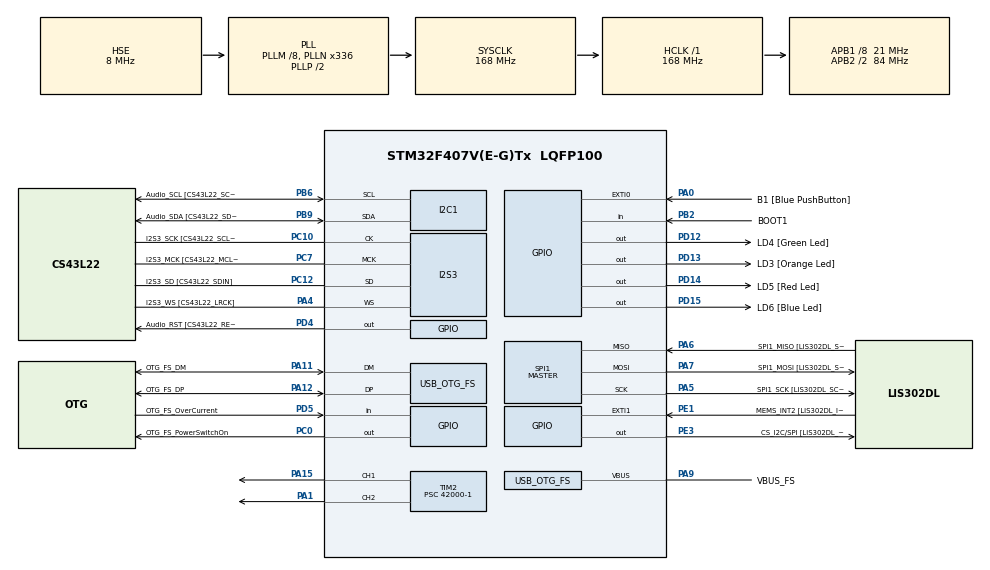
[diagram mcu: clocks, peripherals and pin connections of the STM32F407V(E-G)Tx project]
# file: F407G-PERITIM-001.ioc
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I2S3.AudioFreq-Half_Duplex_Master=I2S_AUDIOFREQ_96K
I2S3.ErrorAudioFreq=-2.34 %
I2S3.ErrorAudioFreq-Half_Duplex_Master=0.8 %
I2S3.FullDuplexMode=I2S_FULLDUPLEXMODE_DISABLE
I2S3.Instance=SPI$Index
I2S3.RealAudioFreq=93.75 KHz
I2S3.RealAudioFreq-Half_Duplex_Master=96.774 KHz
I2S3.VirtualMode=I2S_MODE_MASTER
Mcu.Family=STM32F4
Mcu.Name=STM32F407V(E-G)Tx
Mcu.Package=LQFP100
NVIC.OTG_FS_IRQn=true\:0\:0\:false\:false\:true\:true\:true\:true
NVIC.PriorityGroup=NVIC_PRIORITYGROUP_0
NVIC.TIM2_IRQn=true\:0\:0\:false\:false\:true\:true\:true\:true
PA0-WKUP.GPIO_Label=B1 [Blue PushButton]
PA0-WKUP.GPIO_ModeDefaultEXTI=GPIO_MODE_EVT_RISING
PA0-WKUP.GPIO_PuPd=GPIO_NOPULL
PA0-WKUP.Signal=GPXTI0
PA1.Signal=S_TIM2_CH2
PA10.GPIO_Label=OTG_FS_ID
PA10.GPIO_Mode=GPIO_MODE_AF_PP
PA10.GPIO_PuPd=GPIO_NOPULL
PA10.GPIO_Speed=GPIO_SPEED_FREQ_LOW
PA10.Signal=USB_OTG_FS_ID
PA11.GPIO_Label=OTG_FS_DM
PA11.GPIO_Mode=GPIO_MODE_AF_PP
PA11.GPIO_PuPd=GPIO_NOPULL
PA11.GPIO_Speed=GPIO_SPEED_FREQ_LOW
PA11.Mode=Host_Only
PA11.Signal=USB_OTG_FS_DM
PA12.GPIO_Label=OTG_FS_DP
PA12.GPIO_Mode=GPIO_MODE_AF_PP
PA12.GPIO_PuPd=GPIO_NOPULL
PA12.GPIO_Speed=GPIO_SPEED_FREQ_LOW
PA12.Mode=Host_Only
PA12.Signal=USB_OTG_FS_DP
PA13.GPIO_Label=SWDIO
PA13.Mode=Serial_Wire
PA13.Signal=SYS_JTMS-SWDIO
PA14.GPIO_Label=SWCLK
PA14.Mode=Serial_Wire
PA14.Signal=SYS_JTCK-SWCLK
PA15.Signal=S_TIM2_CH1_ETR
PA4.GPIO_Label=I2S3_WS [CS43L22_LRCK]
PA4.GPIO_Mode=GPIO_MODE_AF_PP
PA4.GPIO_PuPd=GPIO_NOPULL
PA4.GPIO_Speed=GPIO_SPEED_FREQ_LOW
PA4.Mode=Half_Duplex_Master
PA4.Signal=I2S3_WS
PA5.GPIO_Label=SPI1_SCK [LIS302DL_SCL/SPC]
PA5.GPIO_Mode=GPIO_MODE_AF_PP
PA5.GPIO_PuPd=GPIO_NOPULL
PA5.GPIO_Speed=GPIO_SPEED_FREQ_LOW
PA5.Mode=Full_Duplex_Master
PA5.Signal=SPI1_SCK
PA6.GPIO_Label=SPI1_MISO [LIS302DL_SDO]
PA6.GPIO_Mode=GPIO_MODE_AF_PP
PA6.GPIO_PuPd=GPIO_NOPULL
PA6.GPIO_Speed=GPIO_SPEED_FREQ_LOW
PA6.Mode=Full_Duplex_Master
PA6.Signal=SPI1_MISO
PA7.GPIO_Label=SPI1_MOSI [LIS302DL_SDA/SDI/SDO]
PA7.GPIO_Mode=GPIO_MODE_AF_PP
PA7.GPIO_PuPd=GPIO_NOPULL
PA7.GPIO_Speed=GPIO_SPEED_FREQ_LOW
PA7.Mode=Full_Duplex_Master
PA7.Signal=SPI1_MOSI
PA9.GPIO_Label=VBUS_FS
PA9.GPIO_Mode=GPIO_MODE_INPUT
PA9.GPIO_PuPd=GPIO_NOPULL
PA9.Mode=Activate_VBUS
PA9.Signal=USB_OTG_FS_VBUS
PB10.GPIO_Label=CLK_IN [MP45DT02_CLK]
PB10.GPIO_Mode=GPIO_MODE_AF_PP
PB10.GPIO_PuPd=GPIO_NOPULL
PB10.GPIO_Speed=GPIO_SPEED_FREQ_LOW
PB10.Signal=I2S2_CK
PB2.GPIO_Label=BOOT1
PB2.GPIO_Mode=GPIO_MODE_INPUT
PB2.GPIO_PuPd=GPIO_NOPULL
PB2.Signal=GPIO_Input
PB3.GPIO_Label=SWO
PB3.Signal=SYS_JTDO-SWO
PB6.GPIO_Label=Audio_SCL [CS43L22_SCL]
PB6.GPIO_Mode=GPIO_MODE_AF_OD
PB6.GPIO_Pu=GPIO_PULLUP
PB6.GPIO_PuPd=GPIO_NOPULL
PB6.GPIO_Speed=GPIO_SPEED_FREQ_LOW
PB6.Mode=I2C
PB6.Signal=I2C1_SCL
PB9.GPIO_Label=Audio_SDA [CS43L22_SDA]
PB9.GPIO_Mode=GPIO_MODE_AF_OD
PB9.GPIO_Pu=GPIO_PULLUP
PB9.GPIO_PuPd=GPIO_NOPULL
PB9.GPIO_Speed=GPIO_SPEED_FREQ_LOW
PB9.Mode=I2C
PB9.Signal=I2C1_SDA
PC0.GPIO_Label=OTG_FS_PowerSwitchOn
PC0.GPIO_PuPd=GPIO_NOPULL
PC0.GPIO_Speed=GPIO_SPEED_FREQ_LOW
PC0.PinState=GPIO_PIN_SET
PC0.Signal=GPIO_Output
PC10.GPIO_Label=I2S3_SCK [CS43L22_SCLK]
PC10.GPIO_Mode=GPIO_MODE_AF_PP
PC10.GPIO_PuPd=GPIO_NOPULL
PC10.GPIO_Speed=GPIO_SPEED_FREQ_LOW
PC10.Mode=Half_Duplex_Master
PC10.Signal=I2S3_CK
PC12.GPIO_Label=I2S3_SD [CS43L22_SDIN]
PC12.GPIO_Mode=GPIO_MODE_AF_PP
PC12.GPIO_PuPd=GPIO_NOPULL
PC12.GPIO_Speed=GPIO_SPEED_FREQ_LOW
PC12.Mode=Half_Duplex_Master
PC12.Signal=I2S3_SD
PC14-OSC32_IN.GPIO_Label=PC14-OSC32_IN
PC14-OSC32_IN.Mode=LSE-External-Oscillator
PC14-OSC32_IN.Signal=RCC_OSC32_IN
PC15-OSC32_OUT.GPIO_Label=PC15-OSC32_OUT
PC15-OSC32_OUT.Mode=LSE-External-Oscillator
PC15-OSC32_OUT.Signal=RCC_OSC32_OUT
PC3.GPIO_Label=PDM_OUT [MP45DT02_DOUT]
PC3.GPIO_Mode=GPIO_MODE_AF_PP
PC3.GPIO_PuPd=GPIO_NOPULL
PC3.GPIO_Speed=GPIO_SPEED_FREQ_LOW
PC3.Signal=I2S2_SD
PC7.GPIO_Label=I2S3_MCK [CS43L22_MCLK]
PC7.GPIO_Mode=GPIO_MODE_AF_PP
PC7.GPIO_PuPd=GPIO_NOPULL
PC7.GPIO_Speed=GPIO_SPEED_FREQ_LOW
PC7.Mode=Master_Clock_Activated
PC7.Signal=I2S3_MCK
PD12.GPIO_Label=LD4 [Green Led]
PD12.GPIO_PuPd=GPIO_NOPULL
PD12.GPIO_Speed=GPIO_SPEED_FREQ_LOW
PD12.Signal=GPIO_Output
PD13.GPIO_Label=LD3 [Orange Led]
PD13.GPIO_PuPd=GPIO_NOPULL
PD13.GPIO_Speed=GPIO_SPEED_FREQ_LOW
PD13.Signal=GPIO_Output
PD14.GPIO_Label=LD5 [Red Led]
PD14.GPIO_PuPd=GPIO_NOPULL
PD14.GPIO_Speed=GPIO_SPEED_FREQ_LOW
PD14.Signal=GPIO_Output
PD15.GPIO_Label=LD6 [Blue Led]
PD15.GPIO_PuPd=GPIO_NOPULL
PD15.GPIO_Speed=GPIO_SPEED_FREQ_LOW
PD15.Signal=GPIO_Output
PD4.GPIO_Label=Audio_RST [CS43L22_RESET]
PD4.GPIO_PuPd=GPIO_NOPULL
PD4.GPIO_Speed=GPIO_SPEED_FREQ_LOW
PD4.Signal=GPIO_Output
PD5.GPIO_Label=OTG_FS_OverCurrent
PD5.GPIO_Mode=GPIO_MODE_INPUT
PD5.GPIO_PuPd=GPIO_NOPULL
PD5.Signal=GPIO_Input
PE1.GPIO_Label=MEMS_INT2 [LIS302DL_INT2]
PE1.GPIO_ModeDefaultEXTI=GPIO_MODE_EVT_RISING
PE1.GPIO_PuPd=GPIO_NOPULL
PE1.Signal=GPXTI1
PE3.GPIO_Label=CS_I2C/SPI [LIS302DL_CS_I2C/SPI]
PE3.GPIO_PuPd=GPIO_NOPULL
PE3.GPIO_Speed=GPIO_SPEED_FREQ_LOW
PE3.Signal=GPIO_Output
PH0-OSC_IN.GPIO_Label=PH0-OSC_IN
PH0-OSC_IN.Mode=HSE-External-Oscillator
PH0-OSC_IN.Signal=RCC_OSC_IN
PH1-OSC_OUT.GPIO_Label=PH1-OSC_OUT
PH1-OSC_OUT.Mode=HSE-External-Oscillator
PH1-OSC_OUT.Signal=RCC_OSC_OUT
ProjectManager.HeapSize=0x200
ProjectManager.StackSize=0x400
ProjectManager.TargetToolchain=STM32CubeIDE
RCC.48MHZClocksFreq_Value=48000000
RCC.AHBFreq_Value=168000000
RCC.APB1CLKDivider=RCC_HCLK_DIV8
RCC.APB1Freq_Value=21000000
RCC.APB1TimFreq_Value=42000000
RCC.APB2CLKDivider=RCC_HCLK_DIV2
RCC.APB2Freq_Value=84000000
RCC.APB2TimFreq_Value=168000000
RCC.CortexFreq_Value=168000000
RCC.HCLKFreq_Value=168000000
RCC.HSE_VALUE=8000000
RCC.HSI_VALUE=16000000
RCC.PLLM=8
RCC.PLLN=336
RCC.PLLQ=7
RCC.SYSCLKFreq_VALUE=168000000
RCC.SYSCLKSource=RCC_SYSCLKSOURCE_PLLCLK
RCC.VCOOutputFreq_Value=336000000
SH.S_TIM2_CH1_ETR.0=TIM2_CH1,Output Compare1 CH1
SH.S_TIM2_CH2.0=TIM2_CH2,Output Compare2 CH2
SPI1.BaudRatePrescaler-Full_Duplex_Master=SPI_BAUDRATEPRESCALER_2
SPI1.CalculateBaudRate-Full_Duplex_Master=42.0 MBits/s
SPI1.Direction=SPI_DIRECTION_2LINES
SPI1.Mode=SPI_MODE_MASTER
SPI1.Mode-Full_Duplex_Master=SPI_MODE_MASTER
SPI1.VirtualType=VM_MASTER
TIM2.Channel-Output\ Compare1\ CH1=TIM_CHANNEL_1
TIM2.Channel-Output\ Compare2\ CH2=TIM_CHANNEL_2
TIM2.OC2Preload=DISABLE
TIM2.OCMode_2=TIM_OCMODE_TIMING
TIM2.Period=4294967295
TIM2.Prescaler=42000-1
TIM2.Pulse-Output\ Compare1\ CH1=100
TIM2.Pulse-Output\ Compare2\ CH2=500
USB_HOST.BSP.number=1
USB_HOST.USBH_HandleTypeDef-CDC_FS=hUsbHostFS
USB_HOST.VirtualModeFS=Cdc
USB_HOST0.BSP.STBoard=false
USB_HOST0.BSP.api=Unknown
USB_HOST0.BSP.instance=PC0
USB_HOST0.BSP.ip=GPIO
USB_HOST0.BSP.mode=Output
USB_HOST0.BSP.name=Drive_VBUS_FS
USB_HOST0.BSP.solution=PC0
USB_OTG_FS.VirtualMode=Host_Only
USB_OTG_FS.phy_itface=HCD_PHY_EMBEDDED
VP_TIM2_VS_ClockSourceINT.Mode=Internal
VP_USB_HOST_VS_USB_HOST_CDC_FS.Mode=CDC_FS
board=STM32F407G-DISC1

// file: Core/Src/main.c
/* USER CODE BEGIN Header */
/**
  ******************************************************************************
  * @file           : main.c
  * @brief          : Main program body
  ******************************************************************************
  * @attention
  *
  * Copyright (c) 2025 STMicroelectronics.
  * All rights reserved.
  *
  * This software is licensed under terms that can be found in the LICENSE file
  * in the root directory of this software component.
  * If no LICENSE file comes with this software, it is provided AS-IS.
  *
  ******************************************************************************
  */
/* USER CODE END Header */
#include "main.h"
#include "usb_host.h"

/* USER CODE BEGIN Includes */
#include <stdint.h>
/* USER CODE END Includes */

I2C_HandleTypeDef hi2c1;

I2S_HandleTypeDef hi2s3;

SPI_HandleTypeDef hspi1;

TIM_HandleTypeDef htim2;

/* USER CODE BEGIN PV */
uint8_t heartbeat = 0;
uint8_t warning_status = 0;
/* USER CODE END PV */

void SystemClock_Config(void);
static void MX_GPIO_Init(void);
static void MX_I2C1_Init(void);
static void MX_I2S3_Init(void);
static void MX_SPI1_Init(void);
static void MX_TIM2_Init(void);
void MX_USB_HOST_Process(void);

int main(void)
{

  /* MCU Configuration--------------------------------------------------------*/

  /* Reset of all peripherals, Initializes the Flash interface and the Systick. */
  HAL_Init();

  /* Configure the system clock */
  SystemClock_Config();

  /* Initialize all configured peripherals */
  MX_GPIO_Init();
  MX_I2C1_Init();
  MX_I2S3_Init();
  MX_SPI1_Init();
  MX_USB_HOST_Init();
  MX_TIM2_Init();
  /* USER CODE BEGIN 2 */
  // Start the Output Compare Interrupt for both channels
  // The timer will now begin counting and trigger interrupts on match.
  if (HAL_TIM_OC_Start_IT(&htim2, TIM_CHANNEL_1) != HAL_OK)
  {
    Error_Handler();
  }
  if (HAL_TIM_OC_Start_IT(&htim2, TIM_CHANNEL_2) != HAL_OK)
  {
    Error_Handler();
  }
  /* USER CODE END 2 */

  /* Infinite loop */
  while (1)
  {
    MX_USB_HOST_Process();

  }
}

void SystemClock_Config(void)
{
  RCC_OscInitTypeDef RCC_OscInitStruct = {0};
  RCC_ClkInitTypeDef RCC_ClkInitStruct = {0};

  /** Configure the main internal regulator output voltage
  */
  __HAL_RCC_PWR_CLK_ENABLE();
  __HAL_PWR_VOLTAGESCALING_CONFIG(PWR_REGULATOR_VOLTAGE_SCALE1);

  /** Initializes the RCC Oscillators according to the specified parameters
  * in the RCC_OscInitTypeDef structure.
  */
  RCC_OscInitStruct.OscillatorType = RCC_OSCILLATORTYPE_HSE;
  RCC_OscInitStruct.HSEState = RCC_HSE_ON;
  RCC_OscInitStruct.PLL.PLLState = RCC_PLL_ON;
  RCC_OscInitStruct.PLL.PLLSource = RCC_PLLSOURCE_HSE;
  RCC_OscInitStruct.PLL.PLLM = 8;
  RCC_OscInitStruct.PLL.PLLN = 336;
  RCC_OscInitStruct.PLL.PLLP = RCC_PLLP_DIV2;
  RCC_OscInitStruct.PLL.PLLQ = 7;
  if (HAL_RCC_OscConfig(&RCC_OscInitStruct) != HAL_OK)
  {
    Error_Handler();
  }

  /** Initializes the CPU, AHB and APB buses clocks
  */
  RCC_ClkInitStruct.ClockType = RCC_CLOCKTYPE_HCLK|RCC_CLOCKTYPE_SYSCLK
                              |RCC_CLOCKTYPE_PCLK1|RCC_CLOCKTYPE_PCLK2;
  RCC_ClkInitStruct.SYSCLKSource = RCC_SYSCLKSOURCE_PLLCLK;
  RCC_ClkInitStruct.AHBCLKDivider = RCC_SYSCLK_DIV1;
  RCC_ClkInitStruct.APB1CLKDivider = RCC_HCLK_DIV8;
  RCC_ClkInitStruct.APB2CLKDivider = RCC_HCLK_DIV2;

  if (HAL_RCC_ClockConfig(&RCC_ClkInitStruct, FLASH_LATENCY_5) != HAL_OK)
  {
    Error_Handler();
  }
}

static void MX_I2C1_Init(void)
{

  hi2c1.Instance = I2C1;
  hi2c1.Init.ClockSpeed = 100000;
  hi2c1.Init.DutyCycle = I2C_DUTYCYCLE_2;
  hi2c1.Init.OwnAddress1 = 0;
  hi2c1.Init.AddressingMode = I2C_ADDRESSINGMODE_7BIT;
  hi2c1.Init.DualAddressMode = I2C_DUALADDRESS_DISABLE;
  hi2c1.Init.OwnAddress2 = 0;
  hi2c1.Init.GeneralCallMode = I2C_GENERALCALL_DISABLE;
  hi2c1.Init.NoStretchMode = I2C_NOSTRETCH_DISABLE;
  if (HAL_I2C_Init(&hi2c1) != HAL_OK)
  {
    Error_Handler();
  }

}

static void MX_I2S3_Init(void)
{

  hi2s3.Instance = SPI3;
  hi2s3.Init.Mode = I2S_MODE_MASTER_TX;
  hi2s3.Init.Standard = I2S_STANDARD_PHILIPS;
  hi2s3.Init.DataFormat = I2S_DATAFORMAT_16B;
  hi2s3.Init.MCLKOutput = I2S_MCLKOUTPUT_ENABLE;
  hi2s3.Init.AudioFreq = I2S_AUDIOFREQ_96K;
  hi2s3.Init.CPOL = I2S_CPOL_LOW;
  hi2s3.Init.ClockSource = I2S_CLOCK_PLL;
  hi2s3.Init.FullDuplexMode = I2S_FULLDUPLEXMODE_DISABLE;
  if (HAL_I2S_Init(&hi2s3) != HAL_OK)
  {
    Error_Handler();
  }

}

static void MX_SPI1_Init(void)
{

  /* SPI1 parameter configuration*/
  hspi1.Instance = SPI1;
  hspi1.Init.Mode = SPI_MODE_MASTER;
  hspi1.Init.Direction = SPI_DIRECTION_2LINES;
  hspi1.Init.DataSize = SPI_DATASIZE_8BIT;
  hspi1.Init.CLKPolarity = SPI_POLARITY_LOW;
  hspi1.Init.CLKPhase = SPI_PHASE_1EDGE;
  hspi1.Init.NSS = SPI_NSS_SOFT;
  hspi1.Init.BaudRatePrescaler = SPI_BAUDRATEPRESCALER_2;
  hspi1.Init.FirstBit = SPI_FIRSTBIT_MSB;
  hspi1.Init.TIMode = SPI_TIMODE_DISABLE;
  hspi1.Init.CRCCalculation = SPI_CRCCALCULATION_DISABLE;
  hspi1.Init.CRCPolynomial = 10;
  if (HAL_SPI_Init(&hspi1) != HAL_OK)
  {
    Error_Handler();
  }

}

static void MX_TIM2_Init(void)
{

  TIM_ClockConfigTypeDef sClockSourceConfig = {0};
  TIM_MasterConfigTypeDef sMasterConfig = {0};
  TIM_OC_InitTypeDef sConfigOC = {0};

  htim2.Instance = TIM2;
  htim2.Init.Prescaler = 42000-1;
  htim2.Init.CounterMode = TIM_COUNTERMODE_UP;
  htim2.Init.Period = 4294967295;
  htim2.Init.ClockDivision = TIM_CLOCKDIVISION_DIV1;
  htim2.Init.AutoReloadPreload = TIM_AUTORELOAD_PRELOAD_DISABLE;
  if (HAL_TIM_Base_Init(&htim2) != HAL_OK)
  {
    Error_Handler();
  }
  sClockSourceConfig.ClockSource = TIM_CLOCKSOURCE_INTERNAL;
  if (HAL_TIM_ConfigClockSource(&htim2, &sClockSourceConfig) != HAL_OK)
  {
    Error_Handler();
  }
  if (HAL_TIM_OC_Init(&htim2) != HAL_OK)
  {
    Error_Handler();
  }
  sMasterConfig.MasterOutputTrigger = TIM_TRGO_RESET;
  sMasterConfig.MasterSlaveMode = TIM_MASTERSLAVEMODE_DISABLE;
  if (HAL_TIMEx_MasterConfigSynchronization(&htim2, &sMasterConfig) != HAL_OK)
  {
    Error_Handler();
  }
  sConfigOC.OCMode = TIM_OCMODE_TIMING;
  sConfigOC.Pulse = 100;
  sConfigOC.OCPolarity = TIM_OCPOLARITY_HIGH;
  sConfigOC.OCFastMode = TIM_OCFAST_DISABLE;
  if (HAL_TIM_OC_ConfigChannel(&htim2, &sConfigOC, TIM_CHANNEL_1) != HAL_OK)
  {
    Error_Handler();
  }
  sConfigOC.Pulse = 500;
  if (HAL_TIM_OC_ConfigChannel(&htim2, &sConfigOC, TIM_CHANNEL_2) != HAL_OK)
  {
    Error_Handler();
  }
  HAL_TIM_MspPostInit(&htim2);

}

static void MX_GPIO_Init(void)
{
  GPIO_InitTypeDef GPIO_InitStruct = {0};

  /* GPIO Ports Clock Enable */
  __HAL_RCC_GPIOE_CLK_ENABLE();
  __HAL_RCC_GPIOC_CLK_ENABLE();
  __HAL_RCC_GPIOH_CLK_ENABLE();
  __HAL_RCC_GPIOA_CLK_ENABLE();
  __HAL_RCC_GPIOB_CLK_ENABLE();
  __HAL_RCC_GPIOD_CLK_ENABLE();

  /*Configure GPIO pin Output Level */
  HAL_GPIO_WritePin(CS_I2C_SPI_GPIO_Port, CS_I2C_SPI_Pin, GPIO_PIN_RESET);

  /*Configure GPIO pin Output Level */
  HAL_GPIO_WritePin(OTG_FS_PowerSwitchOn_GPIO_Port, OTG_FS_PowerSwitchOn_Pin, GPIO_PIN_SET);

  /*Configure GPIO pin Output Level */
  HAL_GPIO_WritePin(GPIOD, LD4_Pin|LD3_Pin|LD5_Pin|LD6_Pin
                          |Audio_RST_Pin, GPIO_PIN_RESET);

  /*Configure GPIO pin : CS_I2C_SPI_Pin */
  GPIO_InitStruct.Pin = CS_I2C_SPI_Pin;
  GPIO_InitStruct.Mode = GPIO_MODE_OUTPUT_PP;
  GPIO_InitStruct.Pull = GPIO_NOPULL;
  GPIO_InitStruct.Speed = GPIO_SPEED_FREQ_LOW;
  HAL_GPIO_Init(CS_I2C_SPI_GPIO_Port, &GPIO_InitStruct);

  /*Configure GPIO pin : OTG_FS_PowerSwitchOn_Pin */
  GPIO_InitStruct.Pin = OTG_FS_PowerSwitchOn_Pin;
  GPIO_InitStruct.Mode = GPIO_MODE_OUTPUT_PP;
  GPIO_InitStruct.Pull = GPIO_NOPULL;
  GPIO_InitStruct.Speed = GPIO_SPEED_FREQ_LOW;
  HAL_GPIO_Init(OTG_FS_PowerSwitchOn_GPIO_Port, &GPIO_InitStruct);

  /*Configure GPIO pin : PDM_OUT_Pin */
  GPIO_InitStruct.Pin = PDM_OUT_Pin;
  GPIO_InitStruct.Mode = GPIO_MODE_AF_PP;
  GPIO_InitStruct.Pull = GPIO_NOPULL;
  GPIO_InitStruct.Speed = GPIO_SPEED_FREQ_LOW;
  GPIO_InitStruct.Alternate = GPIO_AF5_SPI2;
  HAL_GPIO_Init(PDM_OUT_GPIO_Port, &GPIO_InitStruct);

  /*Configure GPIO pin : B1_Pin */
  GPIO_InitStruct.Pin = B1_Pin;
  GPIO_InitStruct.Mode = GPIO_MODE_EVT_RISING;
  GPIO_InitStruct.Pull = GPIO_NOPULL;
  HAL_GPIO_Init(B1_GPIO_Port, &GPIO_InitStruct);

  /*Configure GPIO pin : BOOT1_Pin */
  GPIO_InitStruct.Pin = BOOT1_Pin;
  GPIO_InitStruct.Mode = GPIO_MODE_INPUT;
  GPIO_InitStruct.Pull = GPIO_NOPULL;
  HAL_GPIO_Init(BOOT1_GPIO_Port, &GPIO_InitStruct);

  /*Configure GPIO pin : CLK_IN_Pin */
  GPIO_InitStruct.Pin = CLK_IN_Pin;
  GPIO_InitStruct.Mode = GPIO_MODE_AF_PP;
  GPIO_InitStruct.Pull = GPIO_NOPULL;
  GPIO_InitStruct.Speed = GPIO_SPEED_FREQ_LOW;
  GPIO_InitStruct.Alternate = GPIO_AF5_SPI2;
  HAL_GPIO_Init(CLK_IN_GPIO_Port, &GPIO_InitStruct);

  /*Configure GPIO pins : LD4_Pin LD3_Pin LD5_Pin LD6_Pin
                           Audio_RST_Pin */
  GPIO_InitStruct.Pin = LD4_Pin|LD3_Pin|LD5_Pin|LD6_Pin
                          |Audio_RST_Pin;
  GPIO_InitStruct.Mode = GPIO_MODE_OUTPUT_PP;
  GPIO_InitStruct.Pull = GPIO_NOPULL;
  GPIO_InitStruct.Speed = GPIO_SPEED_FREQ_LOW;
  HAL_GPIO_Init(GPIOD, &GPIO_InitStruct);

  /*Configure GPIO pin : OTG_FS_OverCurrent_Pin */
  GPIO_InitStruct.Pin = OTG_FS_OverCurrent_Pin;
  GPIO_InitStruct.Mode = GPIO_MODE_INPUT;
  GPIO_InitStruct.Pull = GPIO_NOPULL;
  HAL_GPIO_Init(OTG_FS_OverCurrent_GPIO_Port, &GPIO_InitStruct);

  /*Configure GPIO pin : MEMS_INT2_Pin */
  GPIO_InitStruct.Pin = MEMS_INT2_Pin;
  GPIO_InitStruct.Mode = GPIO_MODE_EVT_RISING;
  GPIO_InitStruct.Pull = GPIO_NOPULL;
  HAL_GPIO_Init(MEMS_INT2_GPIO_Port, &GPIO_InitStruct);

}

/* USER CODE BEGIN 4 */
void HAL_TIM_OC_DelayElapsedCallback(TIM_HandleTypeDef *htim)
{
    uint32_t current_capture;
    uint32_t next_capture;

    // Check if the interrupt comes from TIM2
    if (htim->Instance == TIM2)
    {
        switch (htim->Channel)
        {
            case HAL_TIM_ACTIVE_CHANNEL_1:
              // LD4 (Green) - 100ms toggle
              heartbeat = ! heartbeat;
              HAL_GPIO_TogglePin(LD4_GPIO_Port, LD4_Pin);

              // Calculate the time for the next interrupt: Current CCR + n ticks
              current_capture = HAL_TIM_ReadCapturedValue(htim, TIM_CHANNEL_1);
              next_capture = current_capture + 100;

              // Set the new compare value
              __HAL_TIM_SET_COMPARE(htim, TIM_CHANNEL_1, next_capture);
              break;

            case HAL_TIM_ACTIVE_CHANNEL_2:
              // LD5 (Orange) - 500ms toggle
              warning_status = !warning_status;
              HAL_GPIO_TogglePin(LD5_GPIO_Port, LD5_Pin);

              // Calculate the time for the next interrupt: Current CCR + n ticks
              current_capture = HAL_TIM_ReadCapturedValue(htim, TIM_CHANNEL_2);
              next_capture = current_capture + 500;

              // Set the new compare value
              __HAL_TIM_SET_COMPARE(htim, TIM_CHANNEL_2, next_capture);
              break;

            default:
                break;
        }
    }
}
/* USER CODE END 4 */

void Error_Handler(void)
{
  __disable_irq();
  while (1)
  {
  }
}
